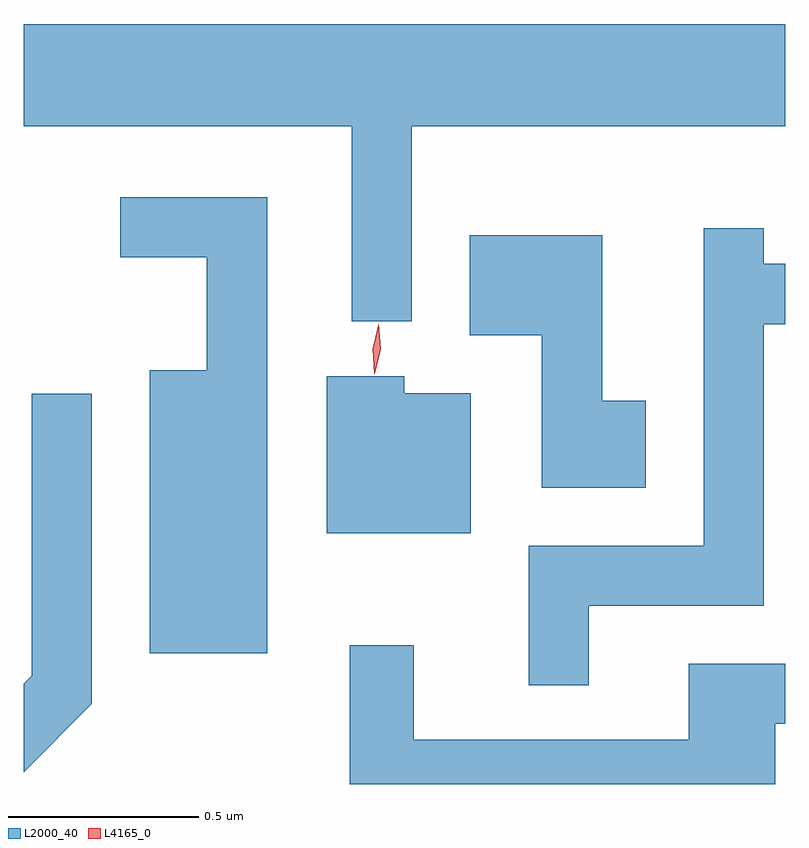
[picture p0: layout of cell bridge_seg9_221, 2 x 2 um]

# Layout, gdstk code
import gdstk
lib = gdstk.Library(unit=1e-6, precision=1e-09)
def P(c, l, *ps):  # polygons
    for p in ps: c.add(gdstk.Polygon(p, *l))
L2000_40 = (2000, 40)
L4165_0 = (4165, 0)

bridge_seg9_221 = lib.new_cell('bridge_seg9_221')
P(bridge_seg9_221, L2000_40, [(1077.335,1965.176),(1078.196,1965.176),(1078.196,1964.663),(1078.354,1964.663),(1078.354,1965.176),(1079.335,1965.176),(1079.335,1965.444),(1077.335,1965.444)],
  [(1077.974,1964.989),(1077.588,1964.989),(1077.588,1964.831),(1077.816,1964.831),(1077.816,1964.534),(1077.666,1964.534),(1077.666,1963.791),(1077.974,1963.791)],
  [(1078.819,1963.916),(1079.279,1963.916),(1079.279,1964.656),(1079.335,1964.656),(1079.335,1964.814),(1079.279,1964.814),(1079.279,1964.908),(1079.121,1964.908),(1079.121,1964.074),(1078.661,1964.074),(1078.661,1963.708),(1078.819,1963.708)],
  [(1078.969,1964.454),(1078.854,1964.454),(1078.854,1964.889),(1078.506,1964.889),(1078.506,1964.626),(1078.696,1964.626),(1078.696,1964.226),(1078.969,1964.226)],
  [(1078.509,1964.474),(1078.334,1964.474),(1078.334,1964.519),(1078.131,1964.519),(1078.131,1964.106),(1078.509,1964.106)],
  [(1077.514,1963.659),(1077.514,1964.473),(1077.356,1964.473),(1077.356,1963.732),(1077.335,1963.711),(1077.335,1963.479)],
  [(1079.309,1963.606),(1079.335,1963.606),(1079.335,1963.764),(1079.081,1963.764),(1079.081,1963.564),(1078.359,1963.564),(1078.359,1963.813),(1078.191,1963.813),(1078.191,1963.448),(1079.309,1963.448)])
P(bridge_seg9_221, L4165_0, [(1078.257,1964.524),(1078.256,1964.525),(1078.252,1964.591),(1078.267,1964.657),(1078.268,1964.657),(1078.268,1964.657),(1078.272,1964.59),(1078.257,1964.525)])

lib.write_gds('bridge_seg9_221.gds')
